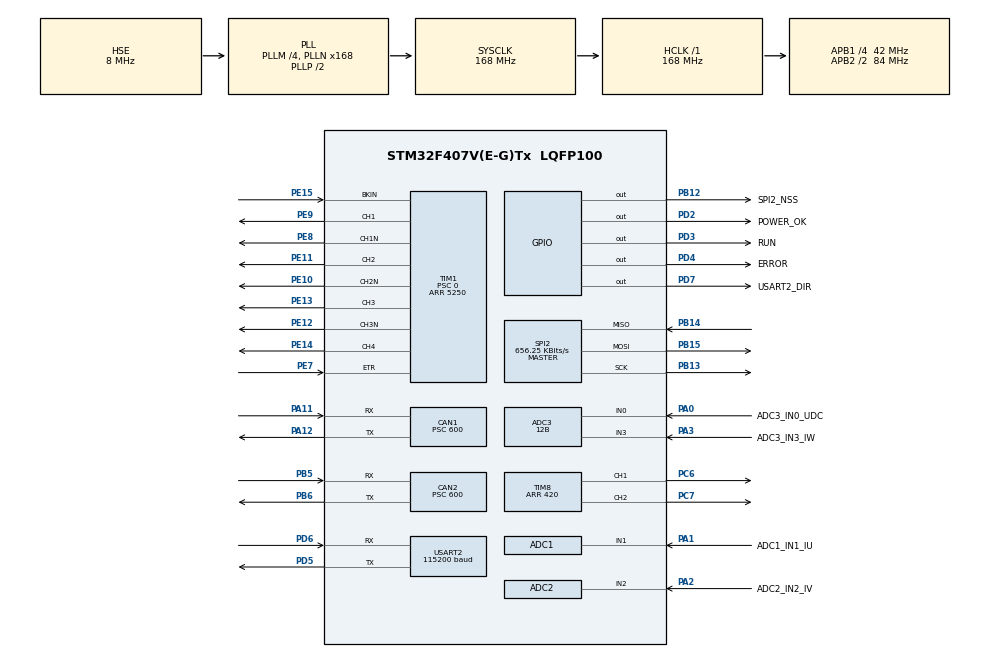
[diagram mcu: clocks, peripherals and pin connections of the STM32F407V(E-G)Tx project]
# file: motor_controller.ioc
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ADC1.Channel-3\#ChannelRegularConversion=ADC_CHANNEL_1
ADC1.Channel-4\#ChannelInjectedConversion=ADC_CHANNEL_1
ADC1.ClockPrescaler=ADC_CLOCK_SYNC_PCLK_DIV4
ADC1.ContinuousConvMode=DISABLE
ADC1.DMAContinuousRequests=DISABLE
ADC1.DataAlign=ADC_DATAALIGN_LEFT
ADC1.DiscontinuousConvMode=DISABLE
ADC1.EOCSelection=ADC_EOC_SINGLE_CONV
ADC1.EnableAnalogWatchDog=false
ADC1.ExternalTrigConv=ADC_SOFTWARE_START
ADC1.ExternalTrigConvEdge=ADC_EXTERNALTRIGCONVEDGE_NONE
ADC1.ExternalTrigInjecConv=ADC_EXTERNALTRIGINJECCONV_T1_TRGO
ADC1.ExternalTrigInjecConvEdge=ADC_EXTERNALTRIGINJECCONVEDGE_RISING
ADC1.InjNumberOfConversion=1
ADC1.InjectedOffset-4\#ChannelInjectedConversion=0
ADC1.InjectedRank-4\#ChannelInjectedConversion=1
ADC1.Mode=__NULL
ADC1.NbrOfConversion=1
ADC1.Rank-3\#ChannelRegularConversion=1
ADC1.Resolution=ADC_RESOLUTION_12B
ADC1.SamplingTime-3\#ChannelRegularConversion=ADC_SAMPLETIME_3CYCLES
ADC1.SamplingTime-4\#ChannelInjectedConversion=ADC_SAMPLETIME_3CYCLES
ADC1.ScanConvMode=ENABLE
ADC1.master=1
ADC2.Channel-3\#ChannelRegularConversion=ADC_CHANNEL_2
ADC2.Channel-4\#ChannelInjectedConversion=ADC_CHANNEL_2
ADC2.ClockPrescaler=ADC_CLOCK_SYNC_PCLK_DIV4
ADC2.ContinuousConvMode=DISABLE
ADC2.DMAContinuousRequests=DISABLE
ADC2.DataAlign=ADC_DATAALIGN_LEFT
ADC2.DiscontinuousConvMode=DISABLE
ADC2.EOCSelection=ADC_EOC_SINGLE_CONV
ADC2.EnableAnalogWatchDog=false
ADC2.ExternalTrigConv=ADC_SOFTWARE_START
ADC2.ExternalTrigConvEdge=ADC_EXTERNALTRIGCONVEDGE_NONE
ADC2.ExternalTrigInjecConv=ADC_EXTERNALTRIGINJECCONV_T1_TRGO
ADC2.ExternalTrigInjecConvEdge=ADC_EXTERNALTRIGINJECCONVEDGE_RISING
ADC2.InjNumberOfConversion=1
ADC2.InjectedOffset-4\#ChannelInjectedConversion=0
ADC2.InjectedRank-4\#ChannelInjectedConversion=1
ADC2.Mode=__NULL
ADC2.NbrOfConversion=1
ADC2.Rank-3\#ChannelRegularConversion=1
ADC2.Resolution=ADC_RESOLUTION_12B
ADC2.SamplingTime-3\#ChannelRegularConversion=ADC_SAMPLETIME_3CYCLES
ADC2.SamplingTime-4\#ChannelInjectedConversion=ADC_SAMPLETIME_3CYCLES
ADC2.ScanConvMode=ENABLE
ADC3.Channel-3\#ChannelRegularConversion=ADC_CHANNEL_3
ADC3.Channel-6\#ChannelInjectedConversion=ADC_CHANNEL_3
ADC3.Channel-7\#ChannelInjectedConversion=ADC_CHANNEL_0
ADC3.ClockPrescaler=ADC_CLOCK_SYNC_PCLK_DIV4
ADC3.ContinuousConvMode=DISABLE
ADC3.DMAContinuousRequests=DISABLE
ADC3.DataAlign=ADC_DATAALIGN_LEFT
ADC3.DiscontinuousConvMode=DISABLE
ADC3.EOCSelection=ADC_EOC_SINGLE_CONV
ADC3.EnableAnalogWatchDog=false
ADC3.ExternalTrigConv=ADC_SOFTWARE_START
ADC3.ExternalTrigConvEdge=ADC_EXTERNALTRIGCONVEDGE_NONE
ADC3.ExternalTrigInjecConv=ADC_EXTERNALTRIGINJECCONV_T1_TRGO
ADC3.ExternalTrigInjecConvEdge=ADC_EXTERNALTRIGINJECCONVEDGE_RISING
ADC3.InjNumberOfConversion=2
ADC3.InjectedOffset-6\#ChannelInjectedConversion=0
ADC3.InjectedOffset-7\#ChannelInjectedConversion=0
ADC3.InjectedRank-6\#ChannelInjectedConversion=1
ADC3.InjectedRank-7\#ChannelInjectedConversion=2
ADC3.NbrOfConversion=1
ADC3.Rank-3\#ChannelRegularConversion=1
ADC3.Resolution=ADC_RESOLUTION_12B
ADC3.SamplingTime-3\#ChannelRegularConversion=ADC_SAMPLETIME_3CYCLES
ADC3.SamplingTime-6\#ChannelInjectedConversion=ADC_SAMPLETIME_3CYCLES
ADC3.SamplingTime-7\#ChannelInjectedConversion=ADC_SAMPLETIME_3CYCLES
ADC3.ScanConvMode=ENABLE
CAN1.BS1=CAN_BS1_3TQ
CAN1.BS2=CAN_BS2_3TQ
CAN1.CalculateBaudRate=10000
CAN1.CalculateTimeBit=100000
CAN1.CalculateTimeQuantum=14285.714285714286
CAN1.Prescaler=600
CAN2.BS1=CAN_BS1_3TQ
CAN2.BS2=CAN_BS2_3TQ
CAN2.CalculateBaudRate=10000
CAN2.CalculateTimeBit=100000
CAN2.CalculateTimeQuantum=14285.714285714286
CAN2.Prescaler=600
Dma.Request0=USART2_RX
Dma.Request1=USART2_TX
Dma.USART2_RX.0.Direction=DMA_PERIPH_TO_MEMORY
Dma.USART2_RX.0.FIFOMode=DMA_FIFOMODE_DISABLE
Dma.USART2_RX.0.Instance=DMA1_Stream5
Dma.USART2_RX.0.MemDataAlignment=DMA_MDATAALIGN_BYTE
Dma.USART2_RX.0.MemInc=DMA_MINC_ENABLE
Dma.USART2_RX.0.Mode=DMA_CIRCULAR
Dma.USART2_RX.0.PeriphDataAlignment=DMA_PDATAALIGN_BYTE
Dma.USART2_RX.0.PeriphInc=DMA_PINC_DISABLE
Dma.USART2_RX.0.Priority=DMA_PRIORITY_LOW
Dma.USART2_TX.1.Direction=DMA_MEMORY_TO_PERIPH
Dma.USART2_TX.1.FIFOMode=DMA_FIFOMODE_DISABLE
Dma.USART2_TX.1.Instance=DMA1_Stream6
Dma.USART2_TX.1.MemDataAlignment=DMA_MDATAALIGN_BYTE
Dma.USART2_TX.1.MemInc=DMA_MINC_ENABLE
Dma.USART2_TX.1.Mode=DMA_NORMAL
Dma.USART2_TX.1.PeriphDataAlignment=DMA_PDATAALIGN_BYTE
Dma.USART2_TX.1.PeriphInc=DMA_PINC_DISABLE
Dma.USART2_TX.1.Priority=DMA_PRIORITY_LOW
Mcu.Family=STM32F4
Mcu.Name=STM32F407V(E-G)Tx
Mcu.Package=LQFP100
NVIC.ADC_IRQn=true\:2\:0\:true\:false\:true\:true\:true\:true
NVIC.CAN1_RX0_IRQn=true\:0\:0\:false\:false\:true\:true\:true\:true
NVIC.CAN1_RX1_IRQn=true\:0\:0\:false\:false\:true\:true\:true\:true
NVIC.CAN1_TX_IRQn=true\:0\:0\:false\:false\:true\:true\:true\:true
NVIC.CAN2_RX0_IRQn=true\:0\:0\:false\:false\:true\:true\:true\:true
NVIC.CAN2_RX1_IRQn=true\:0\:0\:false\:false\:true\:true\:true\:true
NVIC.CAN2_TX_IRQn=true\:0\:0\:false\:false\:true\:true\:true\:true
NVIC.DMA1_Stream5_IRQn=true\:0\:0\:false\:false\:true\:false\:true\:true
NVIC.DMA1_Stream6_IRQn=true\:0\:0\:false\:false\:true\:false\:true\:true
NVIC.PriorityGroup=NVIC_PRIORITYGROUP_4
NVIC.TIM1_UP_TIM10_IRQn=true\:1\:0\:true\:false\:true\:true\:false\:true
NVIC.TIM7_IRQn=true\:3\:0\:true\:false\:true\:true\:false\:true
NVIC.TIM8_UP_TIM13_IRQn=true\:0\:0\:false\:false\:true\:true\:true\:true
PA0-WKUP.GPIO_Label=ADC3_IN0_UDC
PA0-WKUP.Signal=ADCx_IN0
PA1.GPIO_Label=ADC1_IN1_IU
PA1.Signal=ADCx_IN1
PA11.Mode=CAN_Activate
PA11.Signal=CAN1_RX
PA12.Mode=CAN_Activate
PA12.Signal=CAN1_TX
PA13.Mode=Serial_Wire
PA13.Signal=SYS_JTMS-SWDIO
PA14.Mode=Serial_Wire
PA14.Signal=SYS_JTCK-SWCLK
PA2.GPIO_Label=ADC2_IN2_IV
PA2.Signal=ADCx_IN2
PA3.GPIO_Label=ADC3_IN3_IW
PA3.Signal=ADCx_IN3
PB12.GPIO_Label=SPI2_NSS
PB12.Signal=GPIO_Output
PB13.Mode=Full_Duplex_Master
PB13.Signal=SPI2_SCK
PB14.Mode=Full_Duplex_Master
PB14.Signal=SPI2_MISO
PB15.Mode=Full_Duplex_Master
PB15.Signal=SPI2_MOSI
PB5.Mode=CAN_Activate
PB5.Signal=CAN2_RX
PB6.Mode=CAN_Activate
PB6.Signal=CAN2_TX
PC6.Signal=S_TIM8_CH1
PC7.Signal=S_TIM8_CH2
PD2.GPIO_Label=POWER_OK
PD2.Signal=GPIO_Output
PD3.GPIO_Label=RUN
PD3.Signal=GPIO_Output
PD4.GPIO_Label=ERROR
PD4.Signal=GPIO_Output
PD5.GPIO_PuPd=GPIO_PULLUP
PD5.GPIO_Speed=GPIO_SPEED_FREQ_HIGH
PD5.Mode=Asynchronous
PD5.Signal=USART2_TX
PD6.GPIO_PuPd=GPIO_PULLUP
PD6.GPIO_Speed=GPIO_SPEED_FREQ_HIGH
PD6.Mode=Asynchronous
PD6.Signal=USART2_RX
PD7.GPIO_Label=USART2_DIR
PD7.Signal=GPIO_Output
PE10.GPIO_PuPd=GPIO_PULLDOWN
PE10.Mode=PWM Generation2 CH2 CH2N
PE10.Signal=TIM1_CH2N
PE11.GPIO_PuPd=GPIO_PULLDOWN
PE11.Signal=S_TIM1_CH2
PE12.GPIO_PuPd=GPIO_PULLDOWN
PE12.Mode=PWM Generation3 CH3 CH3N
PE12.Signal=TIM1_CH3N
PE13.GPIO_PuPd=GPIO_PULLDOWN
PE13.Signal=S_TIM1_CH3
PE14.Signal=S_TIM1_CH4
PE15.GPIO_PuPd=GPIO_PULLUP
PE15.Mode=Activate-Break-Input
PE15.Signal=TIM1_BKIN
PE7.Signal=S_TIM1_ETR
PE8.GPIO_PuPd=GPIO_PULLDOWN
PE8.Mode=PWM Generation1 CH1 CH1N
PE8.Signal=TIM1_CH1N
PE9.GPIO_PuPd=GPIO_PULLDOWN
PE9.Signal=S_TIM1_CH1
PH0-OSC_IN.Mode=HSE-External-Oscillator
PH0-OSC_IN.Signal=RCC_OSC_IN
PH1-OSC_OUT.Mode=HSE-External-Oscillator
PH1-OSC_OUT.Signal=RCC_OSC_OUT
ProjectManager.HeapSize=0x400
ProjectManager.StackSize=0x800
ProjectManager.TargetToolchain=MDK-ARM V5.27
RCC.48MHZClocksFreq_Value=48000000
RCC.AHBFreq_Value=168000000
RCC.APB1CLKDivider=RCC_HCLK_DIV4
RCC.APB1Freq_Value=42000000
RCC.APB1TimFreq_Value=84000000
RCC.APB2CLKDivider=RCC_HCLK_DIV2
RCC.APB2Freq_Value=84000000
RCC.APB2TimFreq_Value=168000000
RCC.CortexFreq_Value=168000000
RCC.FLatency=FLASH_LATENCY_5
RCC.HCLKFreq_Value=168000000
RCC.HSE_VALUE=8000000
RCC.HSI_VALUE=16000000
RCC.LSE_VALUE=32768
RCC.PLLM=4
RCC.PLLN=168
RCC.PLLQ=7
RCC.PLLSourceVirtual=RCC_PLLSOURCE_HSE
RCC.RCC_RTC_Clock_Source=RCC_RTCCLKSOURCE_LSI
RCC.RCC_RTC_Clock_SourceVirtual=RCC_RTCCLKSOURCE_LSI
RCC.SYSCLKFreq_VALUE=168000000
RCC.SYSCLKSource=RCC_SYSCLKSOURCE_PLLCLK
RCC.VCOOutputFreq_Value=336000000
SH.ADCx_IN0.0=ADC3_IN0,IN0
SH.ADCx_IN1.0=ADC1_IN1,IN1
SH.ADCx_IN2.0=ADC2_IN2,IN2
SH.ADCx_IN3.0=ADC3_IN3,IN3
SH.S_TIM1_CH1.0=TIM1_CH1,PWM Generation1 CH1 CH1N
SH.S_TIM1_CH2.0=TIM1_CH2,PWM Generation2 CH2 CH2N
SH.S_TIM1_CH3.0=TIM1_CH3,PWM Generation3 CH3 CH3N
SH.S_TIM1_CH4.0=TIM1_CH4,PWM Generation4 CH4
SH.S_TIM1_ETR.0=TIM1_ETR,ETR-as-clearing-source
SH.S_TIM8_CH1.0=TIM8_CH1,PWM Generation1 CH1
SH.S_TIM8_CH2.0=TIM8_CH2,PWM Generation2 CH2
SPI2.BaudRatePrescaler=SPI_BAUDRATEPRESCALER_64
SPI2.CLKPhase=SPI_PHASE_2EDGE
SPI2.CalculateBaudRate=656.25 KBits/s
SPI2.DataSize=SPI_DATASIZE_16BIT
SPI2.Direction=SPI_DIRECTION_2LINES
SPI2.Mode=SPI_MODE_MASTER
SPI2.VirtualType=VM_MASTER
TIM1.AutoReloadPreload=TIM_AUTORELOAD_PRELOAD_ENABLE
TIM1.AutomaticOutput=TIM_AUTOMATICOUTPUT_DISABLE
TIM1.BreakPolarity=TIM_BREAKPOLARITY_HIGH
TIM1.BreakState=TIM_BREAK_ENABLE
TIM1.Channel-PWM\ Generation1\ CH1\ CH1N=TIM_CHANNEL_1
TIM1.Channel-PWM\ Generation2\ CH2\ CH2N=TIM_CHANNEL_2
TIM1.Channel-PWM\ Generation3\ CH3\ CH3N=TIM_CHANNEL_3
TIM1.Channel-PWM\ Generation4\ CH4=TIM_CHANNEL_4
TIM1.ClearChannel4=TIM_CHANNEL_4
TIM1.ClockDivision=TIM_CLOCKDIVISION_DIV1
TIM1.CounterMode=TIM_COUNTERMODE_CENTERALIGNED3
TIM1.DeadTime=0xBE
TIM1.LockLevel=TIM_LOCKLEVEL_OFF
TIM1.OC1Preload_PWM=ENABLE
TIM1.OC3Preload_PWM=ENABLE
TIM1.OCFastMode_PWM-PWM\ Generation1\ CH1\ CH1N=TIM_OCFAST_DISABLE
TIM1.OCFastMode_PWM-PWM\ Generation3\ CH3\ CH3N=TIM_OCFAST_DISABLE
TIM1.OCIdleState_1=TIM_OCIDLESTATE_RESET
TIM1.OCIdleState_2=TIM_OCIDLESTATE_RESET
TIM1.OCIdleState_3=TIM_OCIDLESTATE_RESET
TIM1.OCMode_PWM-PWM\ Generation1\ CH1\ CH1N=TIM_OCMODE_PWM1
TIM1.OCMode_PWM-PWM\ Generation3\ CH3\ CH3N=TIM_OCMODE_PWM1
TIM1.OCNIdleState_1=TIM_OCNIDLESTATE_RESET
TIM1.OCNIdleState_2=TIM_OCNIDLESTATE_RESET
TIM1.OCNIdleState_3=TIM_OCNIDLESTATE_RESET
TIM1.OCNPolarity_1=TIM_OCNPOLARITY_HIGH
TIM1.OCNPolarity_2=TIM_OCNPOLARITY_HIGH
TIM1.OCNPolarity_3=TIM_OCNPOLARITY_HIGH
TIM1.OCPolarity_1=TIM_OCPOLARITY_HIGH
TIM1.OCPolarity_2=TIM_OCPOLARITY_HIGH
TIM1.OCPolarity_3=TIM_OCPOLARITY_HIGH
TIM1.OffStateIDLEMode=TIM_OSSI_DISABLE
TIM1.OffStateRunMode=TIM_OSSR_DISABLE
TIM1.Period=5250
TIM1.Prescaler=0
TIM1.Pulse-PWM\ Generation1\ CH1\ CH1N=0
TIM1.Pulse-PWM\ Generation3\ CH3\ CH3N=0
TIM1.RepetitionCounter=0
TIM1.TIM_MasterOutputTrigger=TIM_TRGO_UPDATE
TIM1.TIM_MasterSlaveMode=TIM_MASTERSLAVEMODE_DISABLE
TIM7.Period=42000
TIM7.Prescaler=1
TIM8.AutoReloadPreload=TIM_AUTORELOAD_PRELOAD_DISABLE
TIM8.Channel-PWM\ Generation1\ CH1=TIM_CHANNEL_1
TIM8.Channel-PWM\ Generation2\ CH2=TIM_CHANNEL_2
TIM8.CounterMode=TIM_COUNTERMODE_CENTERALIGNED3
TIM8.OCPolarity_2=TIM_OCPOLARITY_LOW
TIM8.Period=420
TIM8.Pulse-PWM\ Generation1\ CH1=218
TIM8.Pulse-PWM\ Generation2\ CH2=202
TIM8.TIM_MasterOutputTrigger=TIM_TRGO_UPDATE
USART2.BaudRate=115200
USART2.Mode=MODE_TX_RX
USART2.OverSampling=UART_OVERSAMPLING_16
USART2.Parity=PARITY_NONE
USART2.StopBits=STOPBITS_1
USART2.VirtualMode=VM_ASYNC
USART2.WordLength=WORDLENGTH_8B
VP_TIM1_VS_ClockSourceINT.Mode=Internal
VP_TIM7_VS_ClockSourceINT.Mode=Enable_Timer
VP_TIM8_VS_ClockSourceINT.Mode=Internal
board=custom

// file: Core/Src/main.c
/* USER CODE BEGIN Header */
/**
  ******************************************************************************
  * @file           : main.c
  * @brief          : Main program body
  ******************************************************************************
  * @attention
  *
  * Copyright (c) 2024 STMicroelectronics.
  * All rights reserved.
  *
  * This software is licensed under terms that can be found in the LICENSE file
  * in the root directory of this software component.
  * If no LICENSE file comes with this software, it is provided AS-IS.
  *
  ******************************************************************************
  */
/* USER CODE END Header */
#include "main.h"
#include "adc.h"
#include "can.h"
#include "dma.h"
#include "spi.h"
#include "tim.h"
#include "usart.h"
#include "gpio.h"

/* USER CODE BEGIN Includes */
#include "math.h"
#include "def.h"
/* USER CODE END Includes */

void SystemClock_Config(void);
/* USER CODE BEGIN PFP */
void USER_Init(void);
/* USER CODE END PFP */

int main(void)
{

  /* MCU Configuration--------------------------------------------------------*/

  /* Reset of all peripherals, Initializes the Flash interface and the Systick. */
  HAL_Init();

  /* Configure the system clock */
  SystemClock_Config();

  /* Initialize all configured peripherals */
  MX_GPIO_Init();
  MX_DMA_Init();
  MX_ADC2_Init();
  MX_ADC3_Init();
  MX_TIM1_Init();
  MX_USART2_UART_Init();
  MX_ADC1_Init();
  MX_TIM7_Init();
  MX_SPI2_Init();
  MX_CAN1_Init();
  MX_CAN2_Init();
  MX_TIM8_Init();
  /* USER CODE BEGIN 2 */
	USER_Init();
  /* USER CODE END 2 */

  /* Infinite loop */
  while (1)
  {

    /* USER CODE BEGIN 3 */
		FMSTR_Poll();
  }
  /* USER CODE END 3 */
}

void SystemClock_Config(void)
{
  RCC_OscInitTypeDef RCC_OscInitStruct = {0};
  RCC_ClkInitTypeDef RCC_ClkInitStruct = {0};

  /** Configure the main internal regulator output voltage
  */
  __HAL_RCC_PWR_CLK_ENABLE();
  __HAL_PWR_VOLTAGESCALING_CONFIG(PWR_REGULATOR_VOLTAGE_SCALE1);

  /** Initializes the RCC Oscillators according to the specified parameters
  * in the RCC_OscInitTypeDef structure.
  */
  RCC_OscInitStruct.OscillatorType = RCC_OSCILLATORTYPE_HSE;
  RCC_OscInitStruct.HSEState = RCC_HSE_ON;
  RCC_OscInitStruct.PLL.PLLState = RCC_PLL_ON;
  RCC_OscInitStruct.PLL.PLLSource = RCC_PLLSOURCE_HSE;
  RCC_OscInitStruct.PLL.PLLM = 4;
  RCC_OscInitStruct.PLL.PLLN = 168;
  RCC_OscInitStruct.PLL.PLLP = RCC_PLLP_DIV2;
  RCC_OscInitStruct.PLL.PLLQ = 7;
  if (HAL_RCC_OscConfig(&RCC_OscInitStruct) != HAL_OK)
  {
    Error_Handler();
  }

  /** Initializes the CPU, AHB and APB buses clocks
  */
  RCC_ClkInitStruct.ClockType = RCC_CLOCKTYPE_HCLK|RCC_CLOCKTYPE_SYSCLK
                              |RCC_CLOCKTYPE_PCLK1|RCC_CLOCKTYPE_PCLK2;
  RCC_ClkInitStruct.SYSCLKSource = RCC_SYSCLKSOURCE_PLLCLK;
  RCC_ClkInitStruct.AHBCLKDivider = RCC_SYSCLK_DIV1;
  RCC_ClkInitStruct.APB1CLKDivider = RCC_HCLK_DIV4;
  RCC_ClkInitStruct.APB2CLKDivider = RCC_HCLK_DIV2;

  if (HAL_RCC_ClockConfig(&RCC_ClkInitStruct, FLASH_LATENCY_5) != HAL_OK)
  {
    Error_Handler();
  }
}

/* USER CODE BEGIN 4 */
void USER_Init(void) {

	// Start ADC convertion
	HAL_ADC_Start(&hadc1);
	HAL_ADC_Start(&hadc2);
	HAL_ADC_Start(&hadc3);
	HAL_ADCEx_InjectedStart_IT(&hadc1);
	HAL_ADCEx_InjectedStart(&hadc2);
	HAL_ADCEx_InjectedStart(&hadc3);

	// TIM1
	HAL_TIM_Base_Start_IT(&htim1);

  // TIM7
	HAL_TIM_Base_Start_IT(&htim7);

	HAL_TIM_Base_Start_IT(&htim8);

	// Reset fault while power up
	__HAL_TIM_CLEAR_FLAG(&htim1, TIM_FLAG_BREAK);

	// SPI2 Enable for SSI (LIR or RM)
	SET_BIT(SPI2->CR1, SPI_CR1_SPE);
	CLEAR_BIT(SPI2->CR1, SPI_CR1_RXONLY);

	//CAN_Transmit();
}
/* USER CODE END 4 */

void Error_Handler(void)
{
  __disable_irq();
  while (1)
  {
  }
}
